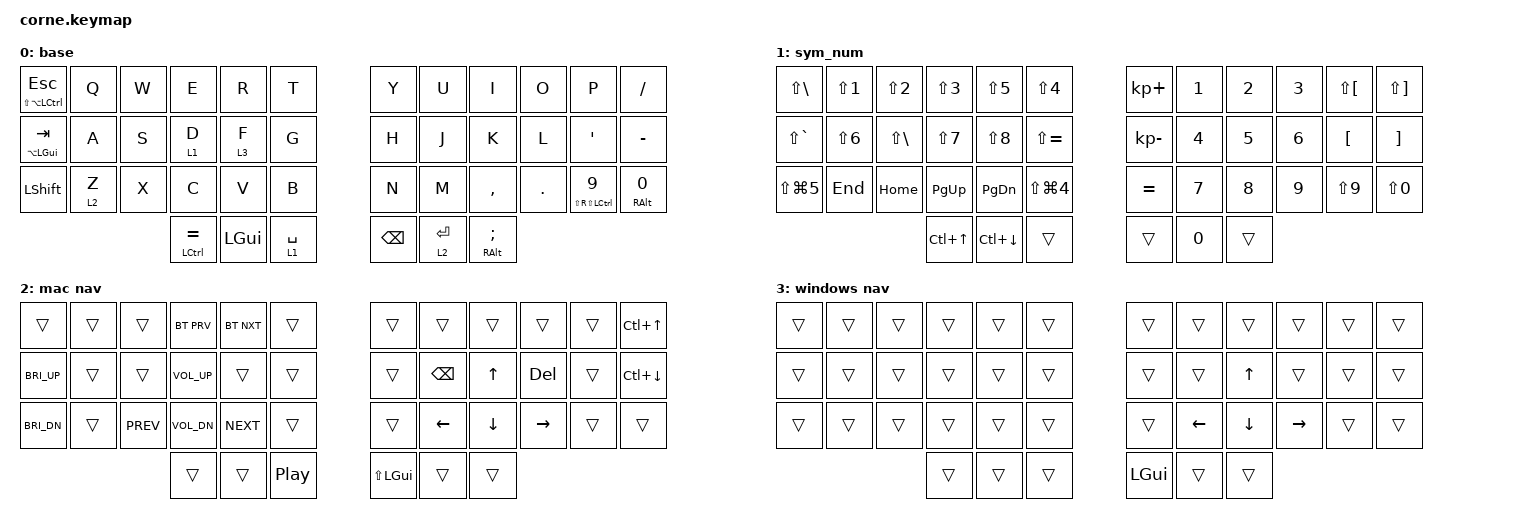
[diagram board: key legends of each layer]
/*
 * Corne wireless (Typeractive) — full keymap backup
 * Transcribed key-by-key from the live board via ZMK Studio + owner confirmation.
 *
 * Layers: 0 base · 1 sym_num · 2 mac nav · 3 windows nav (+ 2 reserved for Studio headroom)
 *
 * Notes:
 *  - This board is ZMK Studio-managed; edits made in Studio live in the keyboard's
 *    settings and override this file unless you do "Restore Stock Settings".
 *  - mac nav volume uses C_VOL_UP/DN (Studio displayed "Keyboard Volume"); functionally
 *    identical for volume control. Adjust if you want the exact keyboard-page code.
 *  - base right-pinky Ctrl/AltG (bottom-right two keys) are best-read; owner noted the
 *    right-pinky Ctrl isn't used in practice.
 */

#include <behaviors.dtsi>
#include <dt-bindings/zmk/keys.h>
#include <dt-bindings/zmk/bt.h>

/ {
    keymap {
        compatible = "zmk,keymap";

        base {
            display-name = "base";
            bindings = <
&mt LS(LA(LCTRL)) ESC  &kp Q     &kp W  &kp E     &kp R     &kp T          &kp Y     &kp U     &kp I      &kp O    &kp P                 &kp FSLH
&mt LA(LGUI) TAB       &kp A     &kp S  &lt 1 D   &lt 3 F   &kp G          &kp H     &kp J     &kp K      &kp L    &kp SQT               &kp MINUS
&kp LSHFT              &lt 2 Z   &kp X  &kp C     &kp V     &kp B          &kp N     &kp M     &kp COMMA  &kp DOT  &mt LS(RS(LCTRL)) N9  &mt RALT N0
                                        &mt LCTRL EQUAL  &kp LGUI  &lt 1 SPACE    &kp BSPC  &lt 2 RET  &mt RALT SEMI
            >;
        };

        sym_num {
            display-name = "sym_num";
            bindings = <
&kp LS(BSLH)    &kp LS(N1)  &kp LS(N2)    &kp LS(N3)  &kp LS(N5)  &kp LS(N4)        &kp KP_PLUS   &kp N1  &kp N2  &kp N3  &kp LS(LBKT)  &kp LS(RBKT)
&kp LS(GRAVE)   &kp LS(N6)  &kp LS(BSLH)  &kp LS(N7)  &kp LS(N8)  &kp LS(EQUAL)     &kp KP_MINUS  &kp N4  &kp N5  &kp N6  &kp LBKT      &kp RBKT
&kp LS(LG(N5))  &kp END     &kp HOME      &kp PG_UP   &kp PG_DN   &kp LS(LG(N4))    &kp EQUAL     &kp N7  &kp N8  &kp N9  &kp LS(N9)    &kp LS(N0)
                                          &kp LC(UP)  &kp LC(DOWN)  &trans          &trans  &kp N0  &trans
            >;
        };

        mac_nav {
            display-name = "mac nav";
            bindings = <
&trans        &trans  &trans      &bt BT_PRV    &bt BT_NXT  &trans        &trans  &trans     &trans    &trans    &trans  &kp LC(UP)
&kp C_BRI_UP  &trans  &trans      &kp C_VOL_UP  &trans      &trans        &trans  &kp BSPC   &kp UP    &kp DEL   &trans  &kp LC(DOWN)
&kp C_BRI_DN  &trans  &kp C_PREV  &kp C_VOL_DN  &kp C_NEXT  &trans        &trans  &kp LEFT   &kp DOWN  &kp RIGHT &trans  &trans
                                  &trans  &trans  &kp C_PP                &kp LS(LGUI)  &trans  &trans
            >;
        };

        windows_nav {
            display-name = "windows nav";
            bindings = <
&trans  &trans  &trans  &trans  &trans  &trans        &trans  &trans    &trans    &trans     &trans  &trans
&trans  &trans  &trans  &trans  &trans  &trans        &trans  &trans    &kp UP    &trans     &trans  &trans
&trans  &trans  &trans  &trans  &trans  &trans        &trans  &kp LEFT  &kp DOWN  &kp RIGHT  &trans  &trans
                        &trans  &trans  &trans        &kp LGUI  &trans  &trans
            >;
        };

        // Reserved empty layers give ZMK Studio room to add more layers later
        // without a reflash. Ignored in normal builds.
        extra_1 {
            status = "reserved";
        };

        extra_2 {
            status = "reserved";
        };
    };
};
